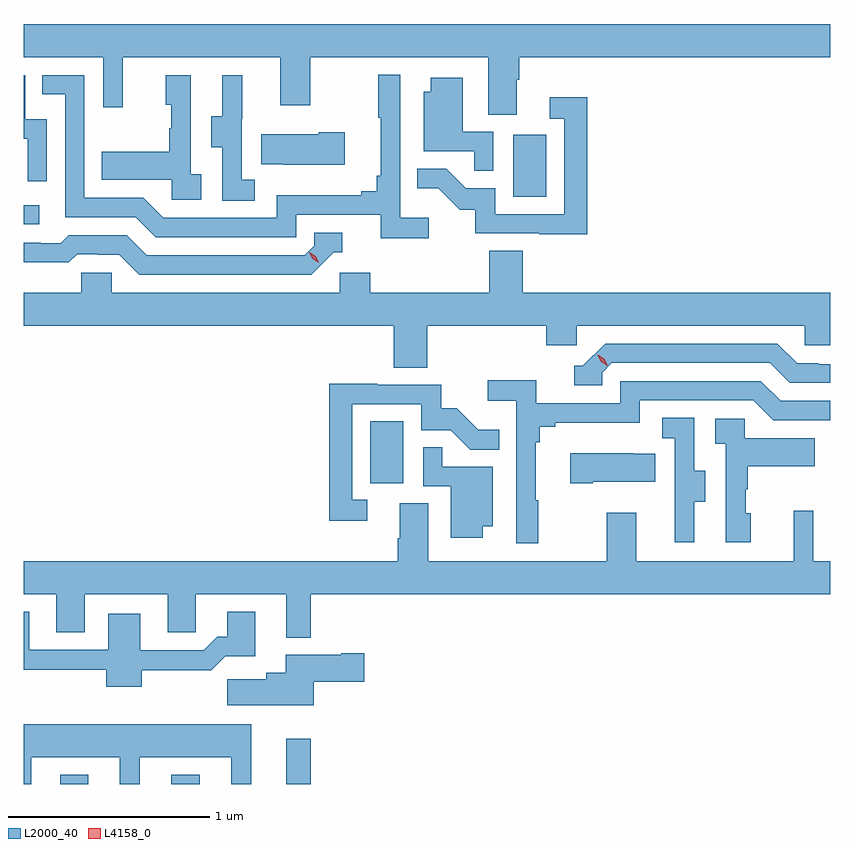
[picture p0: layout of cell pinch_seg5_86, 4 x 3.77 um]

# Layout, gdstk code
import gdstk
lib = gdstk.Library(unit=1e-6, precision=1e-09)
def R(c, l, rs):  # rectangles x0, y0, x1, y1
    for r in rs: c.add(gdstk.rectangle(r[:2], r[2:], *l))
def P(c, l, *ps):  # polygons
    for p in ps: c.add(gdstk.Polygon(p, *l))
L2000_40 = (2000, 40)
L4158_0 = (4158, 0)

pinch_seg5_86 = lib.new_cell('pinch_seg5_86')
R(pinch_seg5_86, L2000_40, [(1022.033,909.098,1022.173,909.145), (1022.585,909.098,1022.725,909.145), (1023.155,909.098,1023.277,909.322), (1023.572,910.59,1023.736,910.897), (1021.853,911.874,1021.93,911.97), (1024.28,912.012,1024.444,912.319)])
P(pinch_seg5_86, L2000_40, [(1024.297,912.592),(1024.31,912.592),(1024.31,912.704),(1025.853,912.704),(1025.853,912.868),(1021.853,912.868),(1021.853,912.704),(1022.247,912.704),(1022.247,912.456),(1022.345,912.456),(1022.345,912.704),(1023.125,912.704),(1023.125,912.465),(1023.273,912.465),(1023.273,912.704),(1024.157,912.704),(1024.157,912.418),(1024.297,912.418)],
  [(1023.862,911.908),(1023.72,911.908),(1023.72,912.616),(1023.612,912.616),(1023.612,912.403),(1023.623,912.403),(1023.623,912.115),(1023.604,912.115),(1023.604,912.038),(1023.527,912.038),(1023.527,912.019),(1023.108,912.019),(1023.108,911.907),(1022.544,911.907),(1022.445,912.006),(1022.154,912.006),(1022.154,912.615),(1021.945,912.615),(1021.945,912.519),(1022.058,912.519),(1022.058,911.91),(1022.408,911.91),(1022.507,911.811),(1023.204,911.811),(1023.204,911.922),(1023.623,911.922),(1023.623,911.806),(1023.862,911.806)],
  [(1021.968,912.396),(1021.86,912.396),(1021.86,912.615),(1021.853,912.615),(1021.853,912.299),(1021.872,912.299),(1021.872,912.087),(1021.968,912.087)],
  [(1022.734,912.122),(1022.682,912.122),(1022.682,912.613),(1022.558,912.613),(1022.558,912.468),(1022.584,912.468),(1022.584,912.35),(1022.574,912.35),(1022.574,912.235),(1022.239,912.235),(1022.239,912.095),(1022.586,912.095),(1022.586,911.997),(1022.734,911.997)],
  [(1022.998,912.095),(1022.934,912.095),(1022.934,912.399),(1022.936,912.399),(1022.936,912.613),(1022.837,912.613),(1022.837,912.411),(1022.783,912.411),(1022.783,912.256),(1022.838,912.256),(1022.838,911.992),(1022.998,911.992)],
  [(1024.182,912.333),(1024.03,912.333),(1024.03,912.601),(1023.872,912.601),(1023.872,912.532),(1023.836,912.532),(1023.836,912.237),(1024.087,912.237),(1024.087,912.139),(1024.182,912.139)],
  [(1024.649,912.505),(1024.461,912.505),(1024.461,912.399),(1024.533,912.399),(1024.533,911.925),(1024.191,911.925),(1024.191,912.054),(1024.046,912.054),(1023.949,912.151),(1023.805,912.151),(1023.805,912.053),(1023.909,912.053),(1024.016,911.946),(1024.093,911.946),(1024.093,911.829),(1024.411,911.829),(1024.411,911.824),(1024.649,911.824)],
  [(1023.445,912.33),(1023.317,912.33),(1023.317,912.322),(1023.031,912.322),(1023.031,912.173),(1023.139,912.173),(1023.139,912.17),(1023.445,912.17)],
  [(1023.39,911.736),(1023.433,911.736),(1023.433,911.832),(1023.294,911.832),(1023.294,911.769),(1023.246,911.721),(1022.463,911.721),(1022.364,911.82),(1022.075,911.82),(1022.036,911.781),(1021.937,911.781),(1021.937,911.784),(1021.853,911.784),(1021.853,911.685),(1022.075,911.685),(1022.117,911.727),(1022.22,911.727),(1022.22,911.724),(1022.327,911.724),(1022.426,911.625),(1023.279,911.625)],
  [(1023.854,911.372),(1024.445,911.372),(1024.445,911.274),(1024.596,911.274),(1024.596,911.372),(1025.727,911.372),(1025.727,911.274),(1025.853,911.274),(1025.853,911.536),(1024.328,911.536),(1024.328,911.744),(1024.163,911.744),(1024.163,911.536),(1023.572,911.536),(1023.572,911.634),(1023.42,911.634),(1023.42,911.536),(1022.289,911.536),(1022.289,911.634),(1022.139,911.634),(1022.139,911.536),(1021.853,911.536),(1021.853,911.372),(1023.689,911.372),(1023.689,911.164),(1023.854,911.164)],
  [(1024.722,911.139),(1024.77,911.187),(1025.553,911.187),(1025.652,911.088),(1025.853,911.088),(1025.853,911.181),(1025.796,911.181),(1025.796,911.184),(1025.689,911.184),(1025.59,911.283),(1024.737,911.283),(1024.626,911.172),(1024.583,911.172),(1024.583,911.076),(1024.722,911.076)],
  [(1024.405,910.505),(1024.393,910.505),(1024.393,910.793),(1024.412,910.793),(1024.412,910.87),(1024.489,910.87),(1024.489,910.889),(1024.908,910.889),(1024.908,911.001),(1025.472,911.001),(1025.571,910.902),(1025.853,910.902),(1025.853,910.998),(1025.608,910.998),(1025.509,911.097),(1024.812,911.097),(1024.812,910.986),(1024.394,910.986),(1024.394,911.102),(1024.155,911.102),(1024.155,911),(1024.296,911),(1024.296,910.293),(1024.405,910.293)],
  [(1023.556,910.509),(1023.483,910.509),(1023.483,910.983),(1023.825,910.983),(1023.825,910.854),(1023.97,910.854),(1024.067,910.757),(1024.211,910.757),(1024.211,910.855),(1024.107,910.855),(1024,910.962),(1023.924,910.962),(1023.924,911.079),(1023.605,911.079),(1023.605,911.084),(1023.367,911.084),(1023.367,910.404),(1023.556,910.404)],
  [(1025.179,910.498),(1025.233,910.498),(1025.233,910.653),(1025.178,910.653),(1025.178,910.916),(1025.019,910.916),(1025.019,910.813),(1025.082,910.813),(1025.082,910.509),(1025.081,910.509),(1025.081,910.296),(1025.179,910.296)],
  [(1025.458,910.44),(1025.433,910.44),(1025.433,910.559),(1025.443,910.559),(1025.443,910.673),(1025.777,910.673),(1025.777,910.813),(1025.43,910.813),(1025.43,910.911),(1025.283,910.911),(1025.283,910.787),(1025.334,910.787),(1025.334,910.296),(1025.458,910.296)],
  [(1024.129,910.376),(1024.18,910.376),(1024.18,910.671),(1023.929,910.671),(1023.929,910.769),(1023.834,910.769),(1023.834,910.575),(1023.971,910.575),(1023.971,910.32),(1024.129,910.32)],
  [(1024.675,910.598),(1024.985,910.598),(1024.985,910.735),(1024.877,910.735),(1024.877,910.738),(1024.563,910.738),(1024.563,910.591),(1024.675,910.591)],
  [(1023.277,910.04),(1025.853,910.04),(1025.853,910.204),(1025.769,910.204),(1025.769,910.453),(1025.672,910.453),(1025.672,910.204),(1024.891,910.204),(1024.891,910.444),(1024.744,910.444),(1024.744,910.204),(1023.859,910.204),(1023.859,910.49),(1023.719,910.49),(1023.719,910.316),(1023.707,910.316),(1023.707,910.204),(1021.853,910.204),(1021.853,910.04),(1022.015,910.04),(1022.015,909.85),(1022.155,909.85),(1022.155,910.04),(1022.567,910.04),(1022.567,909.85),(1022.706,909.85),(1022.706,910.04),(1023.155,910.04),(1023.155,909.824),(1023.277,909.824)],
  [(1022.439,909.662),(1022.783,909.662),(1022.852,909.731),(1023.001,909.731),(1023.001,909.952),(1022.861,909.952),(1022.861,909.829),(1022.812,909.829),(1022.745,909.762),(1022.431,909.762),(1022.431,909.943),(1022.273,909.943),(1022.273,909.765),(1021.879,909.765),(1021.879,909.952),(1021.853,909.952),(1021.853,909.664),(1022.261,909.664),(1022.261,909.581),(1022.439,909.581)],
  [(1023.292,909.605),(1023.541,909.605),(1023.541,909.747),(1023.428,909.747),(1023.428,909.739),(1023.152,909.739),(1023.152,909.649),(1023.056,909.649),(1023.056,909.617),(1022.862,909.617),(1022.862,909.488),(1023.292,909.488)],
  [(1021.891,909.23),(1022.33,909.23),(1022.33,909.098),(1022.428,909.098),(1022.428,909.23),(1022.882,909.23),(1022.882,909.098),(1022.98,909.098),(1022.98,909.394),(1021.853,909.394),(1021.853,909.098),(1021.891,909.098)])
P(pinch_seg5_86, L4158_0, [(1024.747,911.173),(1024.716,911.194),(1024.701,911.227),(1024.701,911.227),(1024.701,911.227),(1024.732,911.207),(1024.747,911.174),(1024.747,911.173)],
  [(1023.317,911.683),(1023.286,911.703),(1023.27,911.735),(1023.27,911.735),(1023.271,911.735),(1023.301,911.716),(1023.317,911.683),(1023.317,911.683)])

lib.write_gds('pinch_seg5_86.gds')
